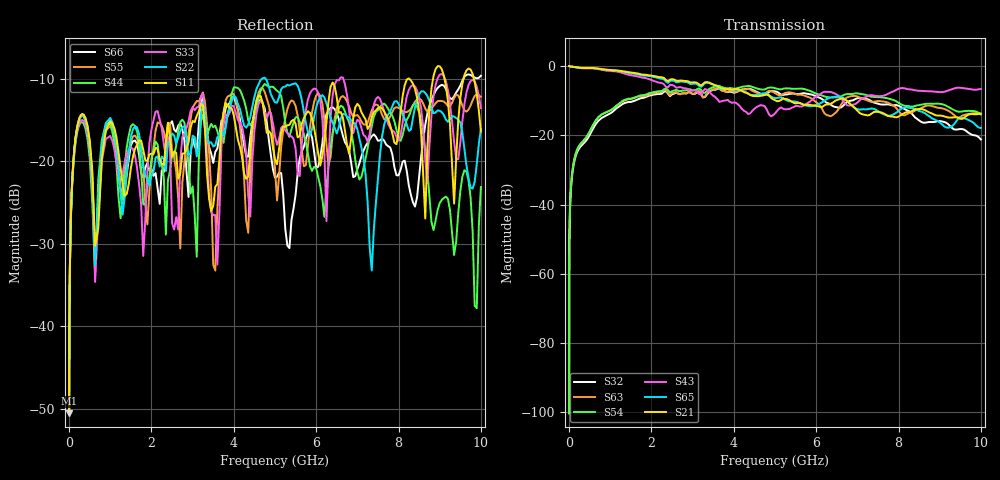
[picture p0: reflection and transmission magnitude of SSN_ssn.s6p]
! Touchstone file exported from HFSS 3D Layout Design 2021.2.0
!  File:  D:/Simulation/SSN.aedt
!  Generated:  12:36:15 PM  Feb 18, 2021
!  Design:  ssn
!  Project:  SSN
!  Setup:  SYZ Sweep 1
!  Solution:  SYZ Sweep 1
# GHz S MA R 50.000000
! Terminal data exported
! Port[1] = A-MII-RXD1_30_SQFP28X28_208_U1
! Port[2] = A-MII-RXD1_65_SQFP20X20_144_U7
! Port[3] = A-MII-RXD2_32_SQFP28X28_208_U1
! Port[4] = A-MII-RXD2_66_SQFP20X20_144_U7
! Port[5] = A-MII-RXD3_33_SQFP28X28_208_U1
! Port[6] = A-MII-RXD3_67_SQFP20X20_144_U7
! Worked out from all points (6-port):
!   361 points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, 1 Hz to 10 GHz, reference 50 ohm
!   strongest paths, dB at 1 Hz, 31.62 kHz, 1 GHz, 5.5 GHz, 10 GHz:
!     S21: 0.0, 0.0, -1.1, -10.8, -13.7
!     S65: 0.0, 0.0, -1.2, -10.3, -17.9
!     S43: 0.0, 0.0, -1.4, -11.5, -6.6
!     S54: -100.3, -86.5, -12.8, -6.5, -14.0
!     S63: -100.3, -86.5, -12.8, -8.1, -13.8
!     S32: -100.3, -87.0, -13.6, -8.0, -21.2
!   lowest |S11| = -50.5 dB at 1 Hz (marker M1), VSWR 1.01, Z = 50.3 - j1.31e-07 ohm
!   |S11| at or under -10 dB: start of sweep to 8.241 GHz; 8.255 GHz to 8.839 GHz (584.3 MHz wide, 6.84 % of centre); 9.116 GHz to 9.581 GHz (465.3 MHz wide, 4.98 % of centre)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
